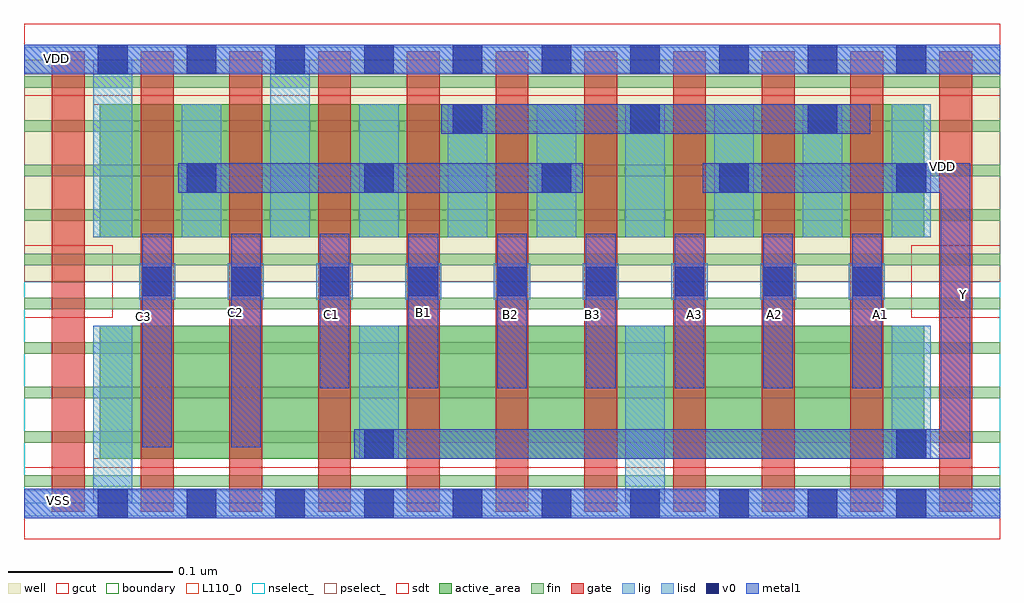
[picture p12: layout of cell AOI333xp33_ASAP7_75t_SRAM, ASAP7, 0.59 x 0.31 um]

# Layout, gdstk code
import gdstk
lib = gdstk.Library(unit=1e-6, precision=2.5e-10)
def R(c, l, rs):  # rectangles x0, y0, x1, y1
    for r in rs: c.add(gdstk.rectangle(r[:2], r[2:], *l))
def A(c, l, x, y, w, h, nx, ny, dx, dy):  # array of equal rectangles
    R(c, l, [(x+i*dx, y+j*dy, x+i*dx+w, y+j*dy+h) for i in range(nx) for j in range(ny)])
def P(c, l, *ps):  # polygons
    for p in ps: c.add(gdstk.Polygon(p, *l))
well = (1, 0)
fin = (2, 0)
gate = (7, 0)
gcut = (10, 0)
active_area = (11, 0)
nselect_ = (12, 0)
pselect_ = (13, 0)
lig = (16, 0)
lisd = (17, 0)
v0 = (18, 0)
metal1 = (19, 0)
sdt = (88, 0)
boundary = (100, 0)
L110_0 = (110, 0)

aoi333xp33_asap7_75t_sra = lib.new_cell('AOI333xp33_ASAP7_75t_SRAM')
R(aoi333xp33_asap7_75t_sra, well, [(0,0.135,0.594,0.27)])
A(aoi333xp33_asap7_75t_sra, fin, 0, 0.01, 0.594, 0.007, 1, 10, 0, 0.027)
A(aoi333xp33_asap7_75t_sra, gate, 0.017, -0.005, 0.02, 0.28, 11, 1, 0.054, 0)
R(aoi333xp33_asap7_75t_sra, gcut, [(0,-0.022,0.098,0.022), (0,-0.022,0.594,0.022), (0.496,-0.022,0.594,0.022), (0,0.113,0.054,0.157), (0.54,0.113,0.594,0.157), (0,0.248,0.098,0.292), (0,0.248,0.594,0.292), (0.496,0.248,0.594,0.292)])
R(aoi333xp33_asap7_75t_sra, active_area, [(0.046,0.027,0.548,0.108), (0.046,0.162,0.548,0.243)])
R(aoi333xp33_asap7_75t_sra, nselect_, [(0,0,0.594,0.135)])
R(aoi333xp33_asap7_75t_sra, pselect_, [(0,0.135,0.594,0.27)])
A(aoi333xp33_asap7_75t_sra, lig, 0.07, 0.124, 0.022, 0.022, 9, 1, 0.054, 0)
R(aoi333xp33_asap7_75t_sra, lig, [(0,-0.008,0.594,0.008), (0,0.262,0.594,0.278)])
A(aoi333xp33_asap7_75t_sra, lisd, 0.042, 0.162, 0.024, 0.081, 10, 1, 0.054, 0)
R(aoi333xp33_asap7_75t_sra, lisd, [(0.042,0,0.066,0.108), (0.366,0,0.39,0.108), (0.204,0.027,0.228,0.108), (0.528,0.027,0.552,0.108), (0.042,0.162,0.066,0.27), (0.15,0.162,0.174,0.27)])
A(aoi333xp33_asap7_75t_sra, v0, 0.045, -0.009, 0.018, 0.018, 10, 2, 0.054, 0.27)
A(aoi333xp33_asap7_75t_sra, v0, 0.072, 0.126, 0.018, 0.018, 9, 1, 0.054, 0)
A(aoi333xp33_asap7_75t_sra, v0, 0.099, 0.189, 0.018, 0.018, 5, 1, 0.108, 0)
A(aoi333xp33_asap7_75t_sra, v0, 0.261, 0.225, 0.018, 0.018, 3, 1, 0.108, 0)
R(aoi333xp33_asap7_75t_sra, v0, [(0.207,0.027,0.225,0.045), (0.531,0.027,0.549,0.045)])
A(aoi333xp33_asap7_75t_sra, metal1, 0.18, 0.07, 0.018, 0.094, 7, 1, 0.054, 0)
R(aoi333xp33_asap7_75t_sra, metal1, [(0,-0.009,0.594,0.009), (0.072,0.034,0.09,0.164), (0.126,0.034,0.144,0.164), (0.094,0.189,0.34,0.207), (0.254,0.225,0.515,0.243), (0,0.261,0.594,0.279)])
P(aoi333xp33_asap7_75t_sra, metal1, [(0.576,0.207),(0.413,0.207),(0.413,0.189),(0.558,0.189),(0.558,0.045),(0.201,0.045),(0.201,0.027),(0.576,0.027)])
A(aoi333xp33_asap7_75t_sra, sdt, 0.042, 0.027, 0.024, 0.081, 4, 1, 0.162, 0)
A(aoi333xp33_asap7_75t_sra, sdt, 0.042, 0.162, 0.024, 0.081, 10, 1, 0.054, 0)
R(aoi333xp33_asap7_75t_sra, boundary, [(0,0,0.594,0.27)])
R(aoi333xp33_asap7_75t_sra, L110_0, [(0,0,0.594,0.27)])
aoi333xp33_asap7_75t_sra.add(gdstk.Label('Y', (0.572,0.127), layer=19, texttype=251))
aoi333xp33_asap7_75t_sra.add(gdstk.Label('VDD', (0.02,0.271), layer=19, texttype=251))
aoi333xp33_asap7_75t_sra.add(gdstk.Label('VSS', (0.021,0.002), layer=19, texttype=251))
aoi333xp33_asap7_75t_sra.add(gdstk.Label('C1', (0.187,0.115), layer=19, texttype=251))
aoi333xp33_asap7_75t_sra.add(gdstk.Label('C2', (0.129,0.116), layer=19, texttype=251))
aoi333xp33_asap7_75t_sra.add(gdstk.Label('C3', (0.073,0.114), layer=19, texttype=251))
aoi333xp33_asap7_75t_sra.add(gdstk.Label('B3', (0.346,0.115), layer=19, texttype=251))
aoi333xp33_asap7_75t_sra.add(gdstk.Label('B2', (0.296,0.115), layer=19, texttype=251))
aoi333xp33_asap7_75t_sra.add(gdstk.Label('B1', (0.243,0.116), layer=19, texttype=251))
aoi333xp33_asap7_75t_sra.add(gdstk.Label('A1', (0.521,0.115), layer=19, texttype=251))
aoi333xp33_asap7_75t_sra.add(gdstk.Label('A2', (0.457,0.115), layer=19, texttype=251))
aoi333xp33_asap7_75t_sra.add(gdstk.Label('A3', (0.408,0.115), layer=19, texttype=251))
aoi333xp33_asap7_75t_sra.add(gdstk.Label('VDD', (0.559,0.205), layer=1, texttype=251))
aoi333xp33_asap7_75t_sra.add(gdstk.Label('VSS', (0.316,-0.039), layer=3, texttype=251))

lib.write_gds('AOI333xp33_ASAP7_75t_SRAM.gds')
